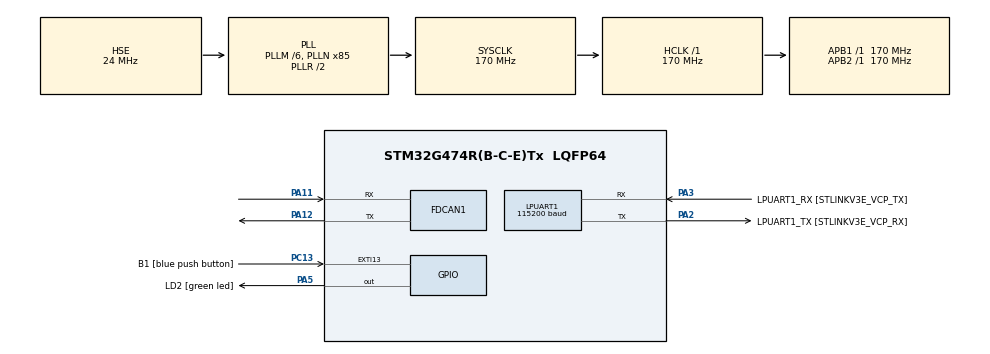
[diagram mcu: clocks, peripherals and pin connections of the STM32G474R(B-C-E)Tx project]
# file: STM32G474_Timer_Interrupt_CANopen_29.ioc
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Dma.LPUART1_RX.0.Direction=DMA_PERIPH_TO_MEMORY
Dma.LPUART1_RX.0.EventEnable=DISABLE
Dma.LPUART1_RX.0.Instance=DMA1_Channel1
Dma.LPUART1_RX.0.MemDataAlignment=DMA_MDATAALIGN_BYTE
Dma.LPUART1_RX.0.MemInc=DMA_MINC_ENABLE
Dma.LPUART1_RX.0.Mode=DMA_NORMAL
Dma.LPUART1_RX.0.PeriphDataAlignment=DMA_PDATAALIGN_BYTE
Dma.LPUART1_RX.0.PeriphInc=DMA_PINC_DISABLE
Dma.LPUART1_RX.0.Polarity=HAL_DMAMUX_REQ_GEN_RISING
Dma.LPUART1_RX.0.Priority=DMA_PRIORITY_LOW
Dma.LPUART1_RX.0.RequestNumber=1
Dma.LPUART1_RX.0.SignalID=NONE
Dma.LPUART1_RX.0.SyncEnable=DISABLE
Dma.LPUART1_RX.0.SyncPolarity=HAL_DMAMUX_SYNC_NO_EVENT
Dma.LPUART1_RX.0.SyncRequestNumber=1
Dma.LPUART1_RX.0.SyncSignalID=NONE
Dma.LPUART1_TX.1.Direction=DMA_MEMORY_TO_PERIPH
Dma.LPUART1_TX.1.EventEnable=DISABLE
Dma.LPUART1_TX.1.Instance=DMA1_Channel2
Dma.LPUART1_TX.1.MemDataAlignment=DMA_MDATAALIGN_BYTE
Dma.LPUART1_TX.1.MemInc=DMA_MINC_ENABLE
Dma.LPUART1_TX.1.Mode=DMA_NORMAL
Dma.LPUART1_TX.1.PeriphDataAlignment=DMA_PDATAALIGN_BYTE
Dma.LPUART1_TX.1.PeriphInc=DMA_PINC_DISABLE
Dma.LPUART1_TX.1.Polarity=HAL_DMAMUX_REQ_GEN_RISING
Dma.LPUART1_TX.1.Priority=DMA_PRIORITY_LOW
Dma.LPUART1_TX.1.RequestNumber=1
Dma.LPUART1_TX.1.SignalID=NONE
Dma.LPUART1_TX.1.SyncEnable=DISABLE
Dma.LPUART1_TX.1.SyncPolarity=HAL_DMAMUX_SYNC_NO_EVENT
Dma.LPUART1_TX.1.SyncRequestNumber=1
Dma.LPUART1_TX.1.SyncSignalID=NONE
Dma.Request0=LPUART1_RX
Dma.Request1=LPUART1_TX
FDCAN1.CalculateBaudRateNominal=124999
FDCAN1.CalculateTimeBitNominal=8000
FDCAN1.CalculateTimeQuantumNominal=500.00000000000006
FDCAN1.ClockDivider=FDCAN_CLOCK_DIV1
FDCAN1.DataTimeSeg1=13
FDCAN1.DataTimeSeg2=2
FDCAN1.Mode=FDCAN_MODE_EXTERNAL_LOOPBACK
FDCAN1.NominalPrescaler=85
FDCAN1.NominalTimeSeg1=13
LPUART1.BaudRate=115200
LPUART1.WordLength=UART_WORDLENGTH_8B
Mcu.Family=STM32G4
Mcu.Name=STM32G474R(B-C-E)Tx
Mcu.Package=LQFP64
NVIC.DMA1_Channel1_IRQn=true\:3\:0\:true\:false\:true\:false\:true\:true
NVIC.DMA1_Channel2_IRQn=true\:3\:0\:true\:false\:true\:false\:true\:true
NVIC.EXTI15_10_IRQn=true\:0\:0\:false\:false\:true\:true\:true\:true
NVIC.FDCAN1_IT0_IRQn=true\:0\:0\:false\:false\:true\:true\:true\:true
NVIC.FDCAN1_IT1_IRQn=true\:0\:0\:false\:false\:true\:true\:true\:true
NVIC.LPUART1_IRQn=true\:3\:0\:true\:false\:true\:true\:true\:true
NVIC.PriorityGroup=NVIC_PRIORITYGROUP_4
NVIC.TIM3_IRQn=true\:0\:0\:false\:false\:true\:true\:true\:true
PA11.Mode=FDCAN_Activate
PA11.Signal=FDCAN1_RX
PA12.Mode=FDCAN_Activate
PA12.Signal=FDCAN1_TX
PA13.GPIO_Label=T_SWDIO
PA13.Mode=Serial_Wire
PA13.Signal=SYS_JTMS-SWDIO
PA14.GPIO_Label=T_SWCLK
PA14.Mode=Serial_Wire
PA14.Signal=SYS_JTCK-SWCLK
PA2.GPIO_Label=LPUART1_TX [STLINKV3E_VCP_RX]
PA2.Mode=Asynchronous
PA2.Signal=LPUART1_TX
PA3.GPIO_Label=LPUART1_RX [STLINKV3E_VCP_TX]
PA3.Mode=Asynchronous
PA3.Signal=LPUART1_RX
PA5.GPIO_Label=LD2 [green led]
PA5.Signal=GPIO_Output
PB3.GPIO_Label=T_SWO
PB3.Signal=SYS_JTDO-SWO
PC13.GPIO_Label=B1 [blue push button]
PC13.Signal=GPXTI13
PC14-OSC32_IN.Mode=LSE-External-Oscillator
PC14-OSC32_IN.Signal=RCC_OSC32_IN
PC15-OSC32_OUT.Mode=LSE-External-Oscillator
PC15-OSC32_OUT.Signal=RCC_OSC32_OUT
PF0-OSC_IN.Mode=HSE-External-Oscillator
PF0-OSC_IN.Signal=RCC_OSC_IN
PF1-OSC_OUT.Mode=HSE-External-Oscillator
PF1-OSC_OUT.Signal=RCC_OSC_OUT
ProjectManager.HeapSize=0x200
ProjectManager.StackSize=0x400
ProjectManager.TargetToolchain=STM32CubeIDE
RCC.ADC12Freq_Value=170000000
RCC.ADC345Freq_Value=170000000
RCC.AHBFreq_Value=170000000
RCC.APB1Freq_Value=170000000
RCC.APB1TimFreq_Value=170000000
RCC.APB2Freq_Value=170000000
RCC.APB2TimFreq_Value=170000000
RCC.CortexFreq_Value=170000000
RCC.EXTERNAL_CLOCK_VALUE=12288000
RCC.HCLKFreq_Value=170000000
RCC.HSE_VALUE=24000000
RCC.HSI48_VALUE=48000000
RCC.HSI_VALUE=16000000
RCC.PLLM=RCC_PLLM_DIV6
RCC.PLLN=85
RCC.PLLSourceVirtual=RCC_PLLSOURCE_HSE
RCC.RTCClockSelection=RCC_RTCCLKSOURCE_LSE
RCC.SYSCLKFreq_VALUE=170000000
RCC.SYSCLKSource=RCC_SYSCLKSOURCE_PLLCLK
RCC.USBFreq_Value=170000000
RCC.VCOOutputFreq_Value=340000000
TIM3.AutoReloadPreload=TIM_AUTORELOAD_PRELOAD_ENABLE
TIM3.PeriodNoDither=1000-1
TIM3.Prescaler=170-1
VP_SYS_VS_DBSignals.Mode=DisableDeadBatterySignals
VP_TIM3_VS_ClockSourceINT.Mode=Internal
board=NUCLEO-G474RE

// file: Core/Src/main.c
/* USER CODE BEGIN Header */
/**
  ******************************************************************************
  * @file           : main.c
  * @brief          : Main program body
  ******************************************************************************
  * @attention
  *
  * Copyright (c) 2023 STMicroelectronics.
  * All rights reserved.
  *
  * This software is licensed under terms that can be found in the LICENSE file
  * in the root directory of this software component.
  * If no LICENSE file comes with this software, it is provided AS-IS.
  *
  ******************************************************************************
  */
/* USER CODE END Header */
#include "main.h"

/* USER CODE BEGIN Includes */
#include "dma_printf.h"
#include "dma_scanf.h"
#include "log.h"

#include "CO_app_STM32.h"
/* USER CODE END Includes */

/* USER CODE BEGIN PD */
#define KEY_PRESSED     GPIO_PIN_RESET
#define KEY_NOT_PRESSED GPIO_PIN_SET
/* USER CODE END PD */

FDCAN_HandleTypeDef hfdcan1;

UART_HandleTypeDef hlpuart1;
DMA_HandleTypeDef hdma_lpuart1_rx;
DMA_HandleTypeDef hdma_lpuart1_tx;

TIM_HandleTypeDef htim3;

/* USER CODE BEGIN PV */
uint8_t flag;
uint8_t ubKeyNumber = 0x0;
FDCAN_RxHeaderTypeDef RxHeader;
uint8_t RxData[8];
FDCAN_TxHeaderTypeDef TxHeader;
uint8_t TxData[8];
/* USER CODE END PV */

void SystemClock_Config(void);
static void MX_GPIO_Init(void);
static void MX_DMA_Init(void);
static void MX_LPUART1_UART_Init(void);
static void MX_TIM3_Init(void);
static void MX_FDCAN1_Init(void);

/* USER CODE BEGIN 0 */
int __io_putchar(int ch)
{
  dma_printf_putc(ch&0xFF);
  return ch;
}

int __io_getchar(void)
{
  return dma_scanf_getc_blocking();
}

void HAL_UART_RxCpltCallback(UART_HandleTypeDef *huart){

}

void HAL_UART_TxCpltCallback(UART_HandleTypeDef *huart){
  dma_printf_send_it(huart);
}

/* USER CODE END 0 */

int main(void)
{
  /* USER CODE BEGIN 1 */
  flag = 0;
  uint32_t count = 0;

  /* USER CODE END 1 */

  /* MCU Configuration--------------------------------------------------------*/

  /* Reset of all peripherals, Initializes the Flash interface and the Systick. */
  HAL_Init();

  /* Configure the system clock */
  SystemClock_Config();

  /* Initialize all configured peripherals */
  MX_GPIO_Init();
  MX_DMA_Init();
  MX_LPUART1_UART_Init();
  MX_TIM3_Init();
  MX_FDCAN1_Init();
  /* USER CODE BEGIN 2 */
  setbuf(stdin, NULL);
  setbuf(stdout, NULL);
  setbuf(stderr, NULL);
  dma_printf_init(&hlpuart1);
  dma_scanf_init(&hlpuart1);

  // Start timer
  HAL_TIM_Base_Start_IT(&htim3);

  CANopenNodeSTM32 canOpenNodeSTM32;
  canOpenNodeSTM32.CANHandle = &hfdcan1;
  canOpenNodeSTM32.HWInitFunction = MX_FDCAN1_Init;
  canOpenNodeSTM32.timerHandle = &htim3;
  canOpenNodeSTM32.desiredNodeID = 29;
  canOpenNodeSTM32.baudrate = 125;
  canopen_app_init(&canOpenNodeSTM32);

  /* USER CODE END 2 */

  /* Infinite loop */
  /* USER CODE BEGIN WHILE */
  while (1)
  {
	  canopen_app_process();
	  if (flag == 1) {
		flag = 0;
		log_info("RESULT:%8ld\r", count++);
	  }
    /* USER CODE END WHILE */

  }
}

void SystemClock_Config(void)
{
  RCC_OscInitTypeDef RCC_OscInitStruct = {0};
  RCC_ClkInitTypeDef RCC_ClkInitStruct = {0};

  /** Configure the main internal regulator output voltage
  */
  HAL_PWREx_ControlVoltageScaling(PWR_REGULATOR_VOLTAGE_SCALE1_BOOST);

  /** Initializes the RCC Oscillators according to the specified parameters
  * in the RCC_OscInitTypeDef structure.
  */
  RCC_OscInitStruct.OscillatorType = RCC_OSCILLATORTYPE_HSE;
  RCC_OscInitStruct.HSEState = RCC_HSE_ON;
  RCC_OscInitStruct.PLL.PLLState = RCC_PLL_ON;
  RCC_OscInitStruct.PLL.PLLSource = RCC_PLLSOURCE_HSE;
  RCC_OscInitStruct.PLL.PLLM = RCC_PLLM_DIV6;
  RCC_OscInitStruct.PLL.PLLN = 85;
  RCC_OscInitStruct.PLL.PLLP = RCC_PLLP_DIV2;
  RCC_OscInitStruct.PLL.PLLQ = RCC_PLLQ_DIV2;
  RCC_OscInitStruct.PLL.PLLR = RCC_PLLR_DIV2;
  if (HAL_RCC_OscConfig(&RCC_OscInitStruct) != HAL_OK)
  {
    Error_Handler();
  }

  /** Initializes the CPU, AHB and APB buses clocks
  */
  RCC_ClkInitStruct.ClockType = RCC_CLOCKTYPE_HCLK|RCC_CLOCKTYPE_SYSCLK
                              |RCC_CLOCKTYPE_PCLK1|RCC_CLOCKTYPE_PCLK2;
  RCC_ClkInitStruct.SYSCLKSource = RCC_SYSCLKSOURCE_PLLCLK;
  RCC_ClkInitStruct.AHBCLKDivider = RCC_SYSCLK_DIV1;
  RCC_ClkInitStruct.APB1CLKDivider = RCC_HCLK_DIV1;
  RCC_ClkInitStruct.APB2CLKDivider = RCC_HCLK_DIV1;

  if (HAL_RCC_ClockConfig(&RCC_ClkInitStruct, FLASH_LATENCY_4) != HAL_OK)
  {
    Error_Handler();
  }
}

static void MX_FDCAN1_Init(void)
{

  hfdcan1.Instance = FDCAN1;
  hfdcan1.Init.ClockDivider = FDCAN_CLOCK_DIV1;
  hfdcan1.Init.FrameFormat = FDCAN_FRAME_CLASSIC;
  hfdcan1.Init.Mode = FDCAN_MODE_EXTERNAL_LOOPBACK;
  hfdcan1.Init.AutoRetransmission = DISABLE;
  hfdcan1.Init.TransmitPause = DISABLE;
  hfdcan1.Init.ProtocolException = DISABLE;
  hfdcan1.Init.NominalPrescaler = 85;
  hfdcan1.Init.NominalSyncJumpWidth = 1;
  hfdcan1.Init.NominalTimeSeg1 = 13;
  hfdcan1.Init.NominalTimeSeg2 = 2;
  hfdcan1.Init.DataPrescaler = 1;
  hfdcan1.Init.DataSyncJumpWidth = 1;
  hfdcan1.Init.DataTimeSeg1 = 13;
  hfdcan1.Init.DataTimeSeg2 = 2;
  hfdcan1.Init.StdFiltersNbr = 0;
  hfdcan1.Init.ExtFiltersNbr = 0;
  hfdcan1.Init.TxFifoQueueMode = FDCAN_TX_FIFO_OPERATION;
  if (HAL_FDCAN_Init(&hfdcan1) != HAL_OK)
  {
    Error_Handler();
  }

}

static void MX_LPUART1_UART_Init(void)
{

  hlpuart1.Instance = LPUART1;
  hlpuart1.Init.BaudRate = 115200;
  hlpuart1.Init.WordLength = UART_WORDLENGTH_8B;
  hlpuart1.Init.StopBits = UART_STOPBITS_1;
  hlpuart1.Init.Parity = UART_PARITY_NONE;
  hlpuart1.Init.Mode = UART_MODE_TX_RX;
  hlpuart1.Init.HwFlowCtl = UART_HWCONTROL_NONE;
  hlpuart1.Init.OneBitSampling = UART_ONE_BIT_SAMPLE_DISABLE;
  hlpuart1.Init.ClockPrescaler = UART_PRESCALER_DIV1;
  hlpuart1.AdvancedInit.AdvFeatureInit = UART_ADVFEATURE_NO_INIT;
  if (HAL_UART_Init(&hlpuart1) != HAL_OK)
  {
    Error_Handler();
  }
  if (HAL_UARTEx_SetTxFifoThreshold(&hlpuart1, UART_TXFIFO_THRESHOLD_1_8) != HAL_OK)
  {
    Error_Handler();
  }
  if (HAL_UARTEx_SetRxFifoThreshold(&hlpuart1, UART_RXFIFO_THRESHOLD_1_8) != HAL_OK)
  {
    Error_Handler();
  }
  if (HAL_UARTEx_DisableFifoMode(&hlpuart1) != HAL_OK)
  {
    Error_Handler();
  }

}

static void MX_TIM3_Init(void)
{

  TIM_ClockConfigTypeDef sClockSourceConfig = {0};
  TIM_MasterConfigTypeDef sMasterConfig = {0};

  htim3.Instance = TIM3;
  htim3.Init.Prescaler = 170-1;
  htim3.Init.CounterMode = TIM_COUNTERMODE_UP;
  htim3.Init.Period = 999;
  htim3.Init.ClockDivision = TIM_CLOCKDIVISION_DIV1;
  htim3.Init.AutoReloadPreload = TIM_AUTORELOAD_PRELOAD_ENABLE;
  if (HAL_TIM_Base_Init(&htim3) != HAL_OK)
  {
    Error_Handler();
  }
  sClockSourceConfig.ClockSource = TIM_CLOCKSOURCE_INTERNAL;
  if (HAL_TIM_ConfigClockSource(&htim3, &sClockSourceConfig) != HAL_OK)
  {
    Error_Handler();
  }
  sMasterConfig.MasterOutputTrigger = TIM_TRGO_RESET;
  sMasterConfig.MasterSlaveMode = TIM_MASTERSLAVEMODE_DISABLE;
  if (HAL_TIMEx_MasterConfigSynchronization(&htim3, &sMasterConfig) != HAL_OK)
  {
    Error_Handler();
  }

}

static void MX_DMA_Init(void)
{

  /* DMA controller clock enable */
  __HAL_RCC_DMAMUX1_CLK_ENABLE();
  __HAL_RCC_DMA1_CLK_ENABLE();

  /* DMA interrupt init */
  /* DMA1_Channel1_IRQn interrupt configuration */
  HAL_NVIC_SetPriority(DMA1_Channel1_IRQn, 3, 0);
  HAL_NVIC_EnableIRQ(DMA1_Channel1_IRQn);
  /* DMA1_Channel2_IRQn interrupt configuration */
  HAL_NVIC_SetPriority(DMA1_Channel2_IRQn, 3, 0);
  HAL_NVIC_EnableIRQ(DMA1_Channel2_IRQn);

}

static void MX_GPIO_Init(void)
{
  GPIO_InitTypeDef GPIO_InitStruct = {0};

  /* GPIO Ports Clock Enable */
  __HAL_RCC_GPIOC_CLK_ENABLE();
  __HAL_RCC_GPIOF_CLK_ENABLE();
  __HAL_RCC_GPIOA_CLK_ENABLE();
  __HAL_RCC_GPIOB_CLK_ENABLE();

  /*Configure GPIO pin Output Level */
  HAL_GPIO_WritePin(LD2_GPIO_Port, LD2_Pin, GPIO_PIN_RESET);

  /*Configure GPIO pin : B1_Pin */
  GPIO_InitStruct.Pin = B1_Pin;
  GPIO_InitStruct.Mode = GPIO_MODE_IT_RISING;
  GPIO_InitStruct.Pull = GPIO_NOPULL;
  HAL_GPIO_Init(B1_GPIO_Port, &GPIO_InitStruct);

  /*Configure GPIO pin : LD2_Pin */
  GPIO_InitStruct.Pin = LD2_Pin;
  GPIO_InitStruct.Mode = GPIO_MODE_OUTPUT_PP;
  GPIO_InitStruct.Pull = GPIO_NOPULL;
  GPIO_InitStruct.Speed = GPIO_SPEED_FREQ_LOW;
  HAL_GPIO_Init(LD2_GPIO_Port, &GPIO_InitStruct);

  /* EXTI interrupt init*/
  HAL_NVIC_SetPriority(EXTI15_10_IRQn, 0, 0);
  HAL_NVIC_EnableIRQ(EXTI15_10_IRQn);

}

/* USER CODE BEGIN 4 */
// Callback: timer has rolled over
void HAL_TIM_PeriodElapsedCallback(TIM_HandleTypeDef *htim)
{
	static uint16_t c;
  // Check which version of the timer triggered this callback and toggle LED
  if (htim == &htim3 )
  {
    if (c++ >= 100) {
	  c = 0;
	  flag = 1;
	  HAL_GPIO_TogglePin(GPIOA, GPIO_PIN_5);
    }
  }
  // Handle CANOpen app interrupts
  if (htim == canopenNodeSTM32->timerHandle) {
      canopen_app_interrupt();
  }
}

/* USER CODE END 4 */

void Error_Handler(void)
{
  __disable_irq();
  while (1)
  {
  }
}
